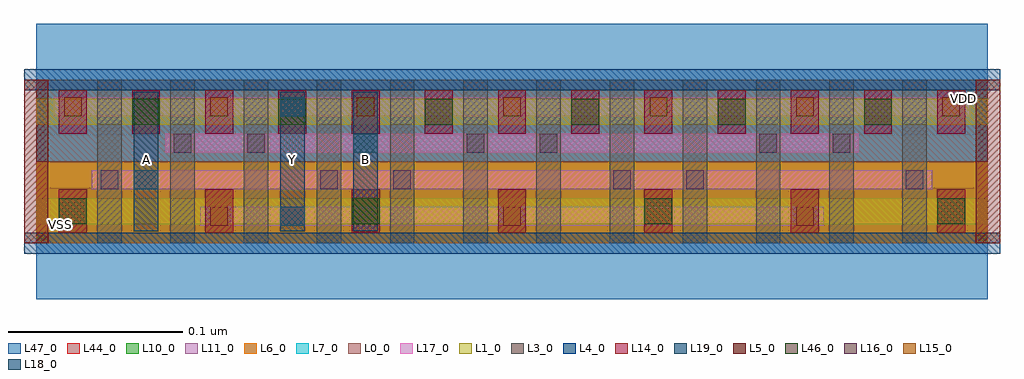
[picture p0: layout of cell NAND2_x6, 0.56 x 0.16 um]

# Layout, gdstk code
import gdstk
lib = gdstk.Library(unit=1e-6, precision=5e-10)
def R(c, l, rs):  # rectangles x0, y0, x1, y1
    for r in rs: c.add(gdstk.rectangle(r[:2], r[2:], *l))
def A(c, l, x, y, w, h, nx, ny, dx, dy):  # array of equal rectangles
    R(c, l, [(x+i*dx, y+j*dy, x+i*dx+w, y+j*dy+h) for i in range(nx) for j in range(ny)])
L0_0 = (0, 0)
L1_0 = (1, 0)
L3_0 = (3, 0)
L4_0 = (4, 0)
L5_0 = (5, 0)
L6_0 = (6, 0)
L7_0 = (7, 0)
L10_0 = (10, 0)
L11_0 = (11, 0)
L14_0 = (14, 0)
L15_0 = (15, 0)
L16_0 = (16, 0)
L17_0 = (17, 0)
L18_0 = (18, 0)
L19_0 = (19, 0)
L44_0 = (44, 0)
L46_0 = (46, 0)
L47_0 = (47, 0)

nand2_x6 = lib.new_cell('NAND2_x6')
R(nand2_x6, L0_0, [(0,0.047,0.546,0.094)])
R(nand2_x6, L1_0, [(0,0.011,0.546,0.026), (0,0.068,0.546,0.083)])
A(nand2_x6, L3_0, 0.035, 0, 0.014, 0.094, 12, 1, 0.042, 0)
R(nand2_x6, L4_0, [(-0.007,-0.006,0.553,0.006), (-0.007,0.088,0.553,0.1)])
R(nand2_x6, L5_0, [(-0.007,0,0.007,0.094), (0.539,0,0.553,0.094)])
R(nand2_x6, L6_0, [(0,0,0.546,0.047)])
R(nand2_x6, L7_0, [(0,0.047,0.546,0.094)])
R(nand2_x6, L10_0, [(0,0,0.546,0.047)])
R(nand2_x6, L11_0, [(0,0.047,0.546,0.094)])
A(nand2_x6, L14_0, 0.013, 0.006, 0.016, 0.025, 7, 1, 0.084, 0)
A(nand2_x6, L14_0, 0.013, 0.063, 0.016, 0.025, 13, 1, 0.042, 0)
A(nand2_x6, L15_0, 0.1, 0.01, 0.01, 0.011, 3, 1, 0.168, 0)
A(nand2_x6, L15_0, 0.016, 0.073, 0.01, 0.011, 7, 1, 0.084, 0)
R(nand2_x6, L16_0, [(0.037,0.031,0.047,0.042), (0.163,0.031,0.173,0.042), (0.205,0.031,0.215,0.042), (0.331,0.031,0.341,0.042), (0.373,0.031,0.383,0.042), (0.499,0.031,0.509,0.042), (0.079,0.052,0.089,0.063), (0.121,0.052,0.131,0.063), (0.247,0.052,0.257,0.063), (0.289,0.052,0.299,0.063), (0.415,0.052,0.425,0.063), (0.457,0.052,0.467,0.063)])
R(nand2_x6, L17_0, [(0.094,0.01,0.452,0.021), (0.032,0.031,0.514,0.042), (0.074,0.052,0.472,0.063), (0.01,0.073,0.536,0.084)])
R(nand2_x6, L18_0, [(0.14,0.01,0.154,0.021), (0.056,0.031,0.07,0.042), (0.182,0.052,0.196,0.063), (0.14,0.073,0.154,0.084)])
R(nand2_x6, L19_0, [(0.056,0.007,0.07,0.087), (0.14,0.007,0.154,0.087), (0.182,0.007,0.196,0.087)])
R(nand2_x6, L44_0, [(0,0,0.546,0.094)])
A(nand2_x6, L46_0, 0.013, 0.011, 0.016, 0.015, 4, 1, 0.168, 0)
A(nand2_x6, L46_0, 0.055, 0.068, 0.016, 0.015, 6, 1, 0.084, 0)
R(nand2_x6, L47_0, [(0,-0.032,0.546,0.032), (0,0.062,0.546,0.126)])
nand2_x6.add(gdstk.Label('B', (0.189,0.048), layer=19, texttype=2))
nand2_x6.add(gdstk.Label('Y', (0.147,0.048), layer=19, texttype=2))
nand2_x6.add(gdstk.Label('A', (0.063,0.048), layer=19, texttype=2))
nand2_x6.add(gdstk.Label('VDD', (0.532,0.083), layer=47, texttype=2))
nand2_x6.add(gdstk.Label('VSS', (0.014,0.011), layer=47, texttype=2))
nand2_x6.add(gdstk.Label('VDD', (0.53,0.091), layer=0, texttype=2))
nand2_x6.add(gdstk.Label('VSS', (0.01,0.003), layer=54, texttype=2))

lib.write_gds('NAND2_x6.gds')
